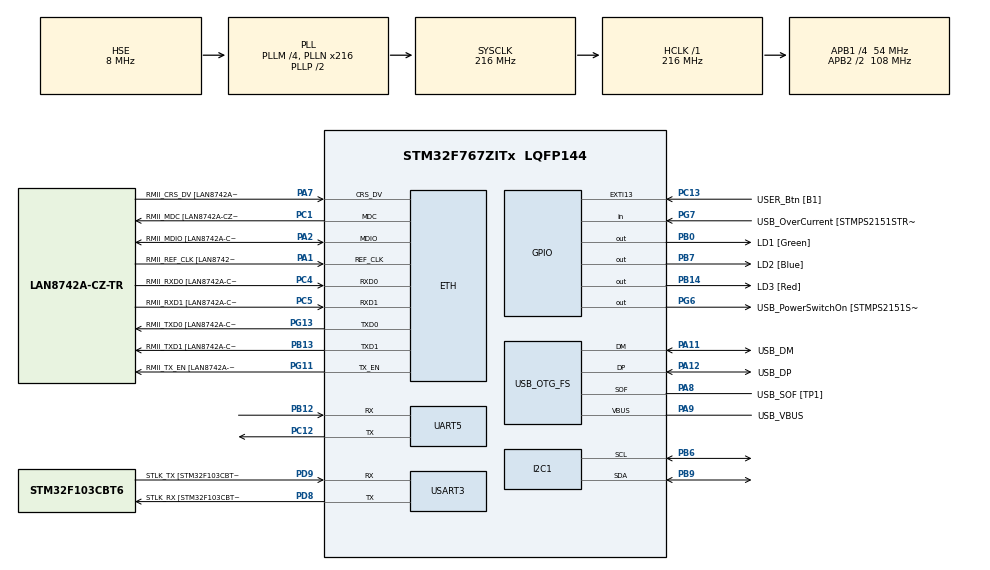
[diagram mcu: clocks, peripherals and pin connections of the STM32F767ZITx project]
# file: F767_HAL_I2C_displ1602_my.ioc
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ETH.MediaInterface=ETH_MEDIA_INTERFACE_RMII
ETH.PHY_Name=LAN8742A_PHY_ADDRESS
ETH.PHY_Value=0
ETH.PhyAddress=0
I2C1.Timing=0x20404768
Mcu.Family=STM32F7
Mcu.Name=STM32F767ZITx
Mcu.Package=LQFP144
NVIC.PriorityGroup=NVIC_PRIORITYGROUP_4
PA1.GPIO_Label=RMII_REF_CLK [LAN8742A-CZ-TR_REFCLK0]
PA1.Mode=RMII
PA1.Signal=ETH_REF_CLK
PA10.GPIO_Label=USB_ID
PA10.Signal=USB_OTG_FS_ID
PA11.GPIO_Label=USB_DM
PA11.Mode=Device_Only
PA11.Signal=USB_OTG_FS_DM
PA12.GPIO_Label=USB_DP
PA12.Mode=Device_Only
PA12.Signal=USB_OTG_FS_DP
PA13.GPIO_Label=TMS
PA13.Mode=Serial_Wire
PA13.Signal=SYS_JTMS-SWDIO
PA14.GPIO_Label=TCK
PA14.Mode=Serial_Wire
PA14.Signal=SYS_JTCK-SWCLK
PA2.GPIO_Label=RMII_MDIO [LAN8742A-CZ-TR_MDIO]
PA2.Mode=RMII
PA2.Signal=ETH_MDIO
PA7.GPIO_Label=RMII_CRS_DV [LAN8742A-CZ-TR_CRS_DV]
PA7.Mode=RMII
PA7.Signal=ETH_CRS_DV
PA8.GPIO_Label=USB_SOF [TP1]
PA8.Mode=Activate_SOF_FS
PA8.Signal=USB_OTG_FS_SOF
PA9.GPIO_Label=USB_VBUS
PA9.Mode=Activate_VBUS
PA9.Signal=USB_OTG_FS_VBUS
PB0.GPIO_Label=LD1 [Green]
PB0.Signal=GPIO_Output
PB12.Mode=Asynchronous
PB12.Signal=UART5_RX
PB13.GPIO_Label=RMII_TXD1 [LAN8742A-CZ-TR_TXD1]
PB13.Mode=RMII
PB13.Signal=ETH_TXD1
PB14.GPIO_Label=LD3 [Red]
PB14.Signal=GPIO_Output
PB3.GPIO_Label=SWO
PB3.Signal=SYS_JTDO-SWO
PB6.Mode=I2C
PB6.Signal=I2C1_SCL
PB7.GPIO_Label=LD2 [Blue]
PB7.Signal=GPIO_Output
PB9.Mode=I2C
PB9.Signal=I2C1_SDA
PC1.GPIO_Label=RMII_MDC [LAN8742A-CZ-TR_MDC]
PC1.Mode=RMII
PC1.Signal=ETH_MDC
PC12.Mode=Asynchronous
PC12.Signal=UART5_TX
PC13.GPIO_Label=USER_Btn [B1]
PC13.Signal=GPXTI13
PC14/OSC32_IN.Mode=LSE-External-Oscillator
PC14/OSC32_IN.Signal=RCC_OSC32_IN
PC15/OSC32_OUT.Mode=LSE-External-Oscillator
PC15/OSC32_OUT.Signal=RCC_OSC32_OUT
PC4.GPIO_Label=RMII_RXD0 [LAN8742A-CZ-TR_RXD0]
PC4.Mode=RMII
PC4.Signal=ETH_RXD0
PC5.GPIO_Label=RMII_RXD1 [LAN8742A-CZ-TR_RXD1]
PC5.Mode=RMII
PC5.Signal=ETH_RXD1
PD8.GPIO_Label=STLK_RX [STM32F103CBT6_PA3]
PD8.Mode=Asynchronous
PD8.Signal=USART3_TX
PD9.GPIO_Label=STLK_TX [STM32F103CBT6_PA2]
PD9.Mode=Asynchronous
PD9.Signal=USART3_RX
PG11.GPIO_Label=RMII_TX_EN [LAN8742A-CZ-TR_TXEN]
PG11.Mode=RMII
PG11.Signal=ETH_TX_EN
PG13.GPIO_Label=RMII_TXD0 [LAN8742A-CZ-TR_TXD0]
PG13.Mode=RMII
PG13.Signal=ETH_TXD0
PG6.GPIO_Label=USB_PowerSwitchOn [STMPS2151STR_EN]
PG6.Signal=GPIO_Output
PG7.GPIO_Label=USB_OverCurrent [STMPS2151STR_FAULT]
PG7.Signal=GPIO_Input
PH0/OSC_IN.GPIO_Label=MCO [STM32F103CBT6_PA8]
PH0/OSC_IN.Mode=HSE-External-Clock-Source
PH0/OSC_IN.Signal=RCC_OSC_IN
PH1/OSC_OUT.Mode=HSE-External-Clock-Source
PH1/OSC_OUT.Signal=RCC_OSC_OUT
ProjectManager.HeapSize=0x200
ProjectManager.StackSize=0x400
ProjectManager.TargetToolchain=STM32CubeIDE
RCC.48MHZClocksFreq_Value=24000000
RCC.AHBFreq_Value=216000000
RCC.APB1CLKDivider=RCC_HCLK_DIV4
RCC.APB1Freq_Value=54000000
RCC.APB1TimFreq_Value=108000000
RCC.APB2CLKDivider=RCC_HCLK_DIV2
RCC.APB2Freq_Value=108000000
RCC.APB2TimFreq_Value=216000000
RCC.CortexFreq_Value=216000000
RCC.HCLKFreq_Value=216000000
RCC.HSE_VALUE=8000000
RCC.HSI_VALUE=16000000
RCC.PLLM=4
RCC.PLLMUL=RCC_PLL_MUL9
RCC.PLLN=216
RCC.PLLQ=9
RCC.PRESCALERUSB=RCC_USBCLKSOURCE_PLL_DIV1_5
RCC.SYSCLKFreq_VALUE=216000000
RCC.SYSCLKSource=RCC_SYSCLKSOURCE_PLLCLK
RCC.SYSCLKSourceVirtual=RCC_SYSCLKSOURCE_PLLCLK
RCC.USBFreq_Value=48000000
RCC.VCOOutputFreq_Value=432000000
USART3.VirtualMode-Asynchronous=VM_ASYNC
USB_OTG_FS.VirtualMode=Device_Only
board=NUCLEO-F767ZI

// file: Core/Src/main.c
/* USER CODE BEGIN Header */
/**
  ******************************************************************************
  * @file           : main.c
  * @brief          : Main program body
  ******************************************************************************
  * @attention
  *
  * <h2><center>&copy; Copyright (c) 2020 STMicroelectronics.
  * All rights reserved.</center></h2>
  *
  * This software component is licensed by ST under BSD 3-Clause license,
  * the "License"; You may not use this file except in compliance with the
  * License. You may obtain a copy of the License at:
  *                        opensource.org/licenses/BSD-3-Clause
  *
  ******************************************************************************
  */
/* USER CODE END Header */

#include "main.h"

/* USER CODE BEGIN Includes */
#include <string.h>                // для работы со строками
/* USER CODE END Includes */

/* USER CODE BEGIN PD */
#define LCD_ADDR (0x27 << 1)       // адрес дисплея, сдвинутый на 1 бит влево (HAL работает с I2C-адресами, сдвинутыми на 1 бит влево)

#define PIN_RS    (1 << 0)         // если на ножке 0, данные воспринимаются как команда, если 1 - как символы для вывода
#define PIN_EN    (1 << 2)         // бит, по изменению сост. которого считывается информация
#define BACKLIGHT (1 << 3)         // управление подсветкой

#define LCD_DELAY_MS 5             // пауза перед высвечиванием символа
/* USER CODE END PD */

ETH_HandleTypeDef heth;

I2C_HandleTypeDef hi2c1;

UART_HandleTypeDef huart5;
UART_HandleTypeDef huart3;

PCD_HandleTypeDef hpcd_USB_OTG_FS;

void SystemClock_Config(void);
static void MX_GPIO_Init(void);
static void MX_ETH_Init(void);
static void MX_USART3_UART_Init(void);
static void MX_USB_OTG_FS_PCD_Init(void);
static void MX_I2C1_Init(void);
static void MX_UART5_Init(void);

/* USER CODE BEGIN 0 */

// функция, показывающаяя адреса подключенных модулей:
void I2C_Scan ()
{
	HAL_StatusTypeDef res;                                                    // переменная, содержащая статус
	char info[] = "Scanning I2C bus...\r\n";                                  // сообщение о начале процедуры
	HAL_UART_Transmit(&huart5, (uint8_t*)info, strlen(info), HAL_MAX_DELAY);  // отправка сообщения по UART
	/* &huart5 - адрес используемого UART
	 * (uint8_t*)info - указатель на значение для отправки
	 * strlen(info) - длина отправляемого сообщения (ф-ция strlen указывает количество символов)
	 * HAL_MAX_DELAY - задержка
	 */
	for(uint16_t i = 0; i < 128; i++)                                         // перебор всех возможных адресов
	{
		res = HAL_I2C_IsDeviceReady(&hi2c1, i << 1, 1, HAL_MAX_DELAY);                   // проверяем, готово ли устройство по адресу i для связи
	    if(res == HAL_OK)                                                     // если да, то
	    {
	    	char msg[64];
	    	// преобразование адреса i, на который откликнулись, в строку в виде 16тиричного значения:
	    	snprintf(msg, sizeof(msg), "0x%02X", i);
	    	// отправка номера откликнувшегося адреса
	    	HAL_UART_Transmit(&huart5, (uint8_t*)msg, strlen(msg), HAL_MAX_DELAY);
	    	// переход на новую строчку
	    	HAL_UART_Transmit(&huart5, (uint8_t*)"\r\n", 2, HAL_MAX_DELAY);
	    }
	    else HAL_UART_Transmit(&huart5, (uint8_t*)".", 1, HAL_MAX_DELAY);
	}
	HAL_UART_Transmit(&huart5, (uint8_t*)"\r\n", 2, HAL_MAX_DELAY);
}

// функция для отправки данных, data - сами данные, flags - 1 (отправка данных) или 0 (отправка команд)
void I2C_send(uint8_t data, uint8_t flags)
{
	HAL_StatusTypeDef res;
	    for(;;) {                                                                     // бесконечный цикл
	        res = HAL_I2C_IsDeviceReady(&hi2c1, LCD_ADDR, 1, HAL_MAX_DELAY);          // проверяем, готово ли устройство по адресу lcd_addr для связи
	        if(res == HAL_OK) break;                                                  // если да, то выходим из бесконечного цикла
	    }

	uint8_t up = data & 0xF0;                 // операция И с 1111 0000, приводит к обнулению последних бит с 0 по 3, остаются биты с 4 по 7
	uint8_t lo = (data << 4) & 0xF0;          // тоже самое, но data сдвигается на 4 бита влево, т.е. в этой
	                                           // переменной остаются  биты с 0 по 3
	uint8_t data_arr[4];
	data_arr[0] = up|flags|BACKLIGHT|PIN_EN;  // 4-7 биты содержат информацию, биты 0-3 конфигурируют работу
	data_arr[1] = up|flags|BACKLIGHT;         // ублирование сигнала, на выводе Е в этот раз 0
	data_arr[2] = lo|flags|BACKLIGHT|PIN_EN;
	data_arr[3] = lo|flags|BACKLIGHT;

	HAL_I2C_Master_Transmit(&hi2c1, LCD_ADDR, data_arr, sizeof(data_arr), HAL_MAX_DELAY);
	HAL_Delay(LCD_DELAY_MS);
}

void LCD_SendString(char *str)
{
    // *char по сути является строкой
	while(*str) {                                   // пока строчка не закончится
		I2C_send((uint8_t)(*str), 1);               // передача первого символа строки
        str++;                                      // сдвиг строки налево на 1 символ
    }
}

/* USER CODE END 0 */

int main(void)
{

  /* MCU Configuration--------------------------------------------------------*/

  /* Reset of all peripherals, Initializes the Flash interface and the Systick. */
  HAL_Init();

  /* Configure the system clock */
  SystemClock_Config();

  /* Initialize all configured peripherals */
  MX_GPIO_Init();
//  MX_ETH_Init();
  MX_USART3_UART_Init();
  MX_USB_OTG_FS_PCD_Init();
  MX_I2C1_Init();
  MX_UART5_Init();
  /* USER CODE BEGIN 2 */

  I2C_send(0b00110000,0);   // 8ми битный интерфейс
  I2C_send(0b00000010,0);   // установка курсора в начале строки
  I2C_send(0b00001100,0);   // нормальный режим работы
  I2C_send(0b00000001,0);   // очистка дисплея

  /* USER CODE END 2 */
  I2C_send(0b10000000,0);   // переход на 1 строку, тут не обязателен
  LCD_SendString("  Hello Habr");
  I2C_send(0b11000000,0);   // переход на 2 строку
  LCD_SendString(" STM32 + LCD 1602");
  I2C_send(0b10010100,0);   // переход на 3 строку
  LCD_SendString(" +LCD 2004A");
  I2C_send(0b11010100,0);   // переход на 4 строку
  LCD_SendString(" library HAL");
  /* Infinite loop */
  while (1)
  {
  }
}

void SystemClock_Config(void)
{
  RCC_OscInitTypeDef RCC_OscInitStruct = {0};
  RCC_ClkInitTypeDef RCC_ClkInitStruct = {0};
  RCC_PeriphCLKInitTypeDef PeriphClkInitStruct = {0};

  /** Configure LSE Drive Capability
  */
  HAL_PWR_EnableBkUpAccess();
  /** Configure the main internal regulator output voltage
  */
  __HAL_RCC_PWR_CLK_ENABLE();
  __HAL_PWR_VOLTAGESCALING_CONFIG(PWR_REGULATOR_VOLTAGE_SCALE1);
  /** Initializes the CPU, AHB and APB busses clocks
  */
  RCC_OscInitStruct.OscillatorType = RCC_OSCILLATORTYPE_HSE;
  RCC_OscInitStruct.HSEState = RCC_HSE_BYPASS;
  RCC_OscInitStruct.PLL.PLLState = RCC_PLL_ON;
  RCC_OscInitStruct.PLL.PLLSource = RCC_PLLSOURCE_HSE;
  RCC_OscInitStruct.PLL.PLLM = 4;
  RCC_OscInitStruct.PLL.PLLN = 216;
  RCC_OscInitStruct.PLL.PLLP = RCC_PLLP_DIV2;
  RCC_OscInitStruct.PLL.PLLQ = 9;
  if (HAL_RCC_OscConfig(&RCC_OscInitStruct) != HAL_OK)
  {
    Error_Handler();
  }
  /** Activate the Over-Drive mode
  */
  if (HAL_PWREx_EnableOverDrive() != HAL_OK)
  {
    Error_Handler();
  }
  /** Initializes the CPU, AHB and APB busses clocks
  */
  RCC_ClkInitStruct.ClockType = RCC_CLOCKTYPE_HCLK|RCC_CLOCKTYPE_SYSCLK
                              |RCC_CLOCKTYPE_PCLK1|RCC_CLOCKTYPE_PCLK2;
  RCC_ClkInitStruct.SYSCLKSource = RCC_SYSCLKSOURCE_PLLCLK;
  RCC_ClkInitStruct.AHBCLKDivider = RCC_SYSCLK_DIV1;
  RCC_ClkInitStruct.APB1CLKDivider = RCC_HCLK_DIV4;
  RCC_ClkInitStruct.APB2CLKDivider = RCC_HCLK_DIV2;

  if (HAL_RCC_ClockConfig(&RCC_ClkInitStruct, FLASH_LATENCY_7) != HAL_OK)
  {
    Error_Handler();
  }
  PeriphClkInitStruct.PeriphClockSelection = RCC_PERIPHCLK_USART3|RCC_PERIPHCLK_UART5
                              |RCC_PERIPHCLK_I2C1|RCC_PERIPHCLK_CLK48;
  PeriphClkInitStruct.Usart3ClockSelection = RCC_USART3CLKSOURCE_PCLK1;
  PeriphClkInitStruct.Uart5ClockSelection = RCC_UART5CLKSOURCE_PCLK1;
  PeriphClkInitStruct.I2c1ClockSelection = RCC_I2C1CLKSOURCE_PCLK1;
  PeriphClkInitStruct.Clk48ClockSelection = RCC_CLK48SOURCE_PLL;
  if (HAL_RCCEx_PeriphCLKConfig(&PeriphClkInitStruct) != HAL_OK)
  {
    Error_Handler();
  }
}

static void MX_ETH_Init(void)
{

  heth.Instance = ETH;
  heth.Init.AutoNegotiation = ETH_AUTONEGOTIATION_ENABLE;
  heth.Init.PhyAddress = LAN8742A_PHY_ADDRESS;
  heth.Init.MACAddr[0] =   0x00;
  heth.Init.MACAddr[1] =   0x80;
  heth.Init.MACAddr[2] =   0xE1;
  heth.Init.MACAddr[3] =   0x00;
  heth.Init.MACAddr[4] =   0x00;
  heth.Init.MACAddr[5] =   0x00;
  heth.Init.RxMode = ETH_RXPOLLING_MODE;
  heth.Init.ChecksumMode = ETH_CHECKSUM_BY_HARDWARE;
  heth.Init.MediaInterface = ETH_MEDIA_INTERFACE_RMII;

  if (HAL_ETH_Init(&heth) != HAL_OK)
  {
    Error_Handler();
  }

}

static void MX_I2C1_Init(void)
{

  hi2c1.Instance = I2C1;
  hi2c1.Init.Timing = 0x20404768;
  hi2c1.Init.OwnAddress1 = 0;
  hi2c1.Init.AddressingMode = I2C_ADDRESSINGMODE_7BIT;
  hi2c1.Init.DualAddressMode = I2C_DUALADDRESS_DISABLE;
  hi2c1.Init.OwnAddress2 = 0;
  hi2c1.Init.OwnAddress2Masks = I2C_OA2_NOMASK;
  hi2c1.Init.GeneralCallMode = I2C_GENERALCALL_DISABLE;
  hi2c1.Init.NoStretchMode = I2C_NOSTRETCH_DISABLE;
  if (HAL_I2C_Init(&hi2c1) != HAL_OK)
  {
    Error_Handler();
  }
  /** Configure Analogue filter
  */
  if (HAL_I2CEx_ConfigAnalogFilter(&hi2c1, I2C_ANALOGFILTER_ENABLE) != HAL_OK)
  {
    Error_Handler();
  }
  /** Configure Digital filter
  */
  if (HAL_I2CEx_ConfigDigitalFilter(&hi2c1, 0) != HAL_OK)
  {
    Error_Handler();
  }

}

static void MX_UART5_Init(void)
{

  huart5.Instance = UART5;
  huart5.Init.BaudRate = 115200;
  huart5.Init.WordLength = UART_WORDLENGTH_8B;
  huart5.Init.StopBits = UART_STOPBITS_1;
  huart5.Init.Parity = UART_PARITY_NONE;
  huart5.Init.Mode = UART_MODE_TX_RX;
  huart5.Init.HwFlowCtl = UART_HWCONTROL_NONE;
  huart5.Init.OverSampling = UART_OVERSAMPLING_16;
  huart5.Init.OneBitSampling = UART_ONE_BIT_SAMPLE_DISABLE;
  huart5.AdvancedInit.AdvFeatureInit = UART_ADVFEATURE_NO_INIT;
  if (HAL_UART_Init(&huart5) != HAL_OK)
  {
    Error_Handler();
  }

}

static void MX_USART3_UART_Init(void)
{

  huart3.Instance = USART3;
  huart3.Init.BaudRate = 115200;
  huart3.Init.WordLength = UART_WORDLENGTH_8B;
  huart3.Init.StopBits = UART_STOPBITS_1;
  huart3.Init.Parity = UART_PARITY_NONE;
  huart3.Init.Mode = UART_MODE_TX_RX;
  huart3.Init.HwFlowCtl = UART_HWCONTROL_NONE;
  huart3.Init.OverSampling = UART_OVERSAMPLING_16;
  huart3.Init.OneBitSampling = UART_ONE_BIT_SAMPLE_DISABLE;
  huart3.AdvancedInit.AdvFeatureInit = UART_ADVFEATURE_NO_INIT;
  if (HAL_UART_Init(&huart3) != HAL_OK)
  {
    Error_Handler();
  }

}

static void MX_USB_OTG_FS_PCD_Init(void)
{

  hpcd_USB_OTG_FS.Instance = USB_OTG_FS;
  hpcd_USB_OTG_FS.Init.dev_endpoints = 6;
  hpcd_USB_OTG_FS.Init.speed = PCD_SPEED_FULL;
  hpcd_USB_OTG_FS.Init.dma_enable = DISABLE;
  hpcd_USB_OTG_FS.Init.phy_itface = PCD_PHY_EMBEDDED;
  hpcd_USB_OTG_FS.Init.Sof_enable = ENABLE;
  hpcd_USB_OTG_FS.Init.low_power_enable = DISABLE;
  hpcd_USB_OTG_FS.Init.lpm_enable = DISABLE;
  hpcd_USB_OTG_FS.Init.vbus_sensing_enable = ENABLE;
  hpcd_USB_OTG_FS.Init.use_dedicated_ep1 = DISABLE;
  if (HAL_PCD_Init(&hpcd_USB_OTG_FS) != HAL_OK)
  {
    Error_Handler();
  }

}

static void MX_GPIO_Init(void)
{
  GPIO_InitTypeDef GPIO_InitStruct = {0};

  /* GPIO Ports Clock Enable */
  __HAL_RCC_GPIOC_CLK_ENABLE();
  __HAL_RCC_GPIOH_CLK_ENABLE();
  __HAL_RCC_GPIOA_CLK_ENABLE();
  __HAL_RCC_GPIOB_CLK_ENABLE();
  __HAL_RCC_GPIOD_CLK_ENABLE();
  __HAL_RCC_GPIOG_CLK_ENABLE();

  /*Configure GPIO pin Output Level */
  HAL_GPIO_WritePin(GPIOB, LD1_Pin|LD3_Pin|LD2_Pin, GPIO_PIN_RESET);

  /*Configure GPIO pin Output Level */
  HAL_GPIO_WritePin(USB_PowerSwitchOn_GPIO_Port, USB_PowerSwitchOn_Pin, GPIO_PIN_RESET);

  /*Configure GPIO pin : USER_Btn_Pin */
  GPIO_InitStruct.Pin = USER_Btn_Pin;
  GPIO_InitStruct.Mode = GPIO_MODE_IT_RISING;
  GPIO_InitStruct.Pull = GPIO_NOPULL;
  HAL_GPIO_Init(USER_Btn_GPIO_Port, &GPIO_InitStruct);

  /*Configure GPIO pins : LD1_Pin LD3_Pin LD2_Pin */
  GPIO_InitStruct.Pin = LD1_Pin|LD3_Pin|LD2_Pin;
  GPIO_InitStruct.Mode = GPIO_MODE_OUTPUT_PP;
  GPIO_InitStruct.Pull = GPIO_NOPULL;
  GPIO_InitStruct.Speed = GPIO_SPEED_FREQ_LOW;
  HAL_GPIO_Init(GPIOB, &GPIO_InitStruct);

  /*Configure GPIO pin : USB_PowerSwitchOn_Pin */
  GPIO_InitStruct.Pin = USB_PowerSwitchOn_Pin;
  GPIO_InitStruct.Mode = GPIO_MODE_OUTPUT_PP;
  GPIO_InitStruct.Pull = GPIO_NOPULL;
  GPIO_InitStruct.Speed = GPIO_SPEED_FREQ_LOW;
  HAL_GPIO_Init(USB_PowerSwitchOn_GPIO_Port, &GPIO_InitStruct);

  /*Configure GPIO pin : USB_OverCurrent_Pin */
  GPIO_InitStruct.Pin = USB_OverCurrent_Pin;
  GPIO_InitStruct.Mode = GPIO_MODE_INPUT;
  GPIO_InitStruct.Pull = GPIO_NOPULL;
  HAL_GPIO_Init(USB_OverCurrent_GPIO_Port, &GPIO_InitStruct);

}

void Error_Handler(void)
{
}

/************************ (C) COPYRIGHT STMicroelectronics *****END OF FILE****/
